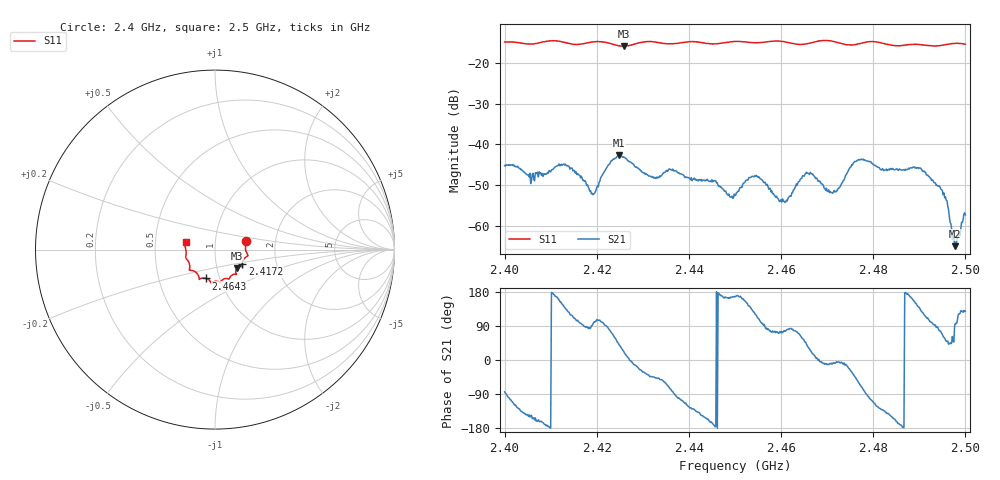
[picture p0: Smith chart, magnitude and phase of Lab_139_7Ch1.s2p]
# Hz S RI R 50
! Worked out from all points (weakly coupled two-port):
!   601 points, 2.4 GHz to 2.5 GHz, reference 50 ohm
!   highest |S21| = -42.72 dB at 2.4248 GHz (marker M1); lowest = -65.0 dB at 2.4977 GHz (marker M2)
!   lowest |S11| = -15.9 dB at 2.4258 GHz (marker M3), VSWR 1.38, Z = 62.3 - j13.2 ohm
!   |S11| at or under -10 dB: start of sweep to end of sweep
!   S12 and S22 are empty: the file has one direction only
!   S11 on the Smith chart (normalised r, x): 2.4 GHz: 1.41, +0.14; 2.4172 GHz: 1.34, -0.22; 2.4643 GHz: 0.86, -0.28; 2.5 GHz: 0.72, +0.06
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2.4e9  0.173 0.0493  0.000559 -0.00546  0 0  0 0
2.406e9  0.1703 0.0011  -0.00385 -0.00181  0 0  0 0
2.412833e9  0.1749 -0.0398  -0.00453 0.00353  0 0  0 0
2.416667e9  0.153 -0.0745  -0.000382 0.00405  0 0  0 0
2.417167e9  0.1524 -0.0802  -9.44e-06 0.00362  0 0  0 0
2.419333e9  0.1536 -0.0961  -0.000423 0.00243  0 0  0 0
2.424833e9  0.1292 -0.0971  0.00557 0.00473  0 0  0 0
2.425833e9  0.1217 -0.1035  0.00648 0.00276  0 0  0 0
2.433333e9  0.1131 -0.1369  0.00265 -0.00293  0 0  0 0
2.436167e9  0.0929 -0.1438  0.000884 -0.00481  0 0  0 0
2.45e9  0.0295 -0.1809  -0.00229 0.0005  0 0  0 0
2.454667e9  0.00486 -0.1765  -0.00189 0.0037  0 0  0 0
2.461e9  -0.026 -0.1782  0.000464 0.00191  0 0  0 0
2.464333e9  -0.0499 -0.1606  0.00178 0.00336  0 0  0 0
2.466667e9  -0.0758 -0.1599  0.00408 0.00142  0 0  0 0
2.471e9  -0.0872 -0.1632  0.00252 -0.000375  0 0  0 0
2.4765e9  -0.122 -0.1176  0.00385 -0.00506  0 0  0 0
2.483333e9  -0.1409 -0.09  -0.00388 -0.00306  0 0  0 0
2.49e9  -0.1629 -0.0408  -0.00381 0.00343  0 0  0 0
2.4945e9  -0.1629 0.00408  0.000682 0.00289  0 0  0 0
2.497667e9  -0.1709 0.0299  -6.77e-06 0.000562  0 0  0 0
2.5e9  -0.1639 0.0425  -0.000857 0.00106  0 0  0 0
